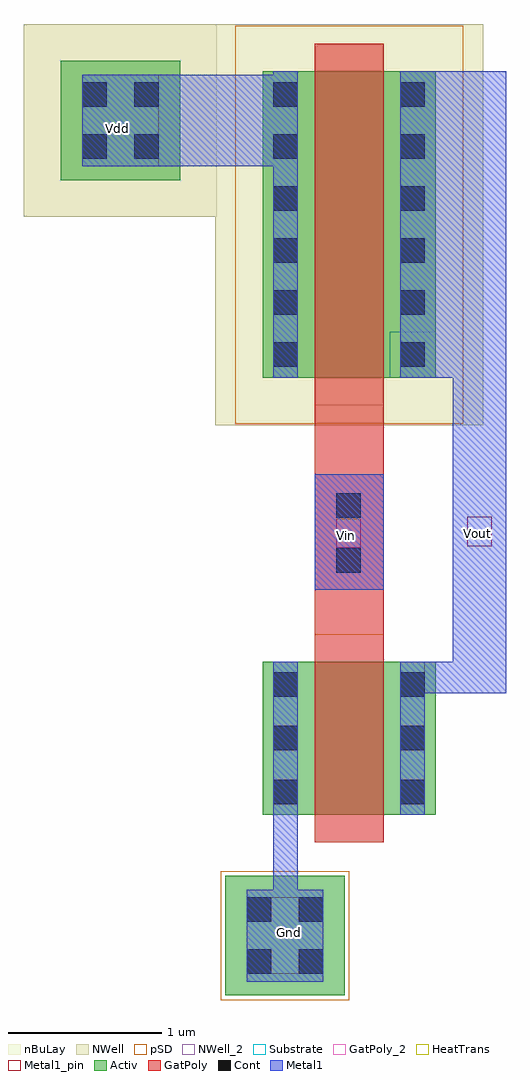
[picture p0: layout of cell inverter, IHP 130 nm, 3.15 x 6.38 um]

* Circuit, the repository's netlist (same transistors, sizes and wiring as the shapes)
** sch_path: /home/pedersen/misc/inverter_example/inverter.sch
.SUBCKT inverter Vdd Vin Vout Gnd
*.PININFO Vout:B Vdd:B Vin:B Gnd:B
M1 Vout Vin Gnd net2 sg13_lv_nmos w=1.0u l=0.45u ng=1 m=1
M2 Vout Vin Vdd net1 sg13_lv_pmos w=2.0u l=0.45u ng=1 m=1
R1 Vdd net1 ntap1 A=6.084e-13 P=3.12e-06
R2 Gnd net2 ptap1 A=6.084e-13 P=3.12e-06
.ENDS

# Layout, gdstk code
import gdstk
lib = gdstk.Library(unit=1e-6, precision=1e-09)
def R(c, l, rs):  # rectangles x0, y0, x1, y1
    for r in rs: c.add(gdstk.rectangle(r[:2], r[2:], *l))
def A(c, l, x, y, w, h, nx, ny, dx, dy):  # array of equal rectangles
    R(c, l, [(x+i*dx, y+j*dy, x+i*dx+w, y+j*dy+h) for i in range(nx) for j in range(ny)])
Activ = (1, 0)
GatPoly = (5, 0)
GatPoly_2 = (5, 2)
Cont = (6, 0)
Metal1 = (8, 0)
Metal1_pin = (8, 2)
pSD = (14, 0)
NWell = (31, 0)
NWell_2 = (31, 2)
nBuLay = (32, 0)
Substrate = (40, 0)
HeatTrans = (51, 0)

pmos_1 = lib.new_cell('pmos$1')
R(pmos_1, Activ, [(0,0,0.3,0.3), (0,0,1.13,2), (0.83,0,1.13,0.3)])
R(pmos_1, GatPoly, [(0.34,-0.18,0.79,2.18), (0.34,-0.18,0.79,2.18)])
A(pmos_1, Cont, 0.07, 0.07, 0.16, 0.16, 1, 6, 0, 0.34)
A(pmos_1, Cont, 0.9, 0.07, 0.16, 0.16, 1, 6, 0, 0.34)
R(pmos_1, Metal1, [(0.07,0,0.23,2), (0.07,0,0.23,2), (0.9,0,1.06,2), (0.9,0,1.06,2)])
R(pmos_1, pSD, [(-0.18,-0.3,1.31,2.3)])
R(pmos_1, NWell, [(-0.31,-0.31,1.44,2.31)])
R(pmos_1, Substrate, [(0.83,0,1.13,0.3)])
R(pmos_1, HeatTrans, [(0.34,-0.18,0.79,2.18)])
pmos_1.add(gdstk.Label('pmos', (0.565,1), layer=63, texttype=0))
pmos_1.add(gdstk.Label('pmos', (0.565,1), layer=51, texttype=0))

nmos = lib.new_cell('nmos')
R(nmos, Activ, [(0,0,0.3,0.3), (0,0,1.13,1), (0.83,0,1.13,0.3)])
R(nmos, GatPoly, [(0.34,-0.18,0.79,1.18)])
R(nmos, GatPoly_2, [(0.34,-0.18,0.79,1.18)])
A(nmos, Cont, 0.07, 0.07, 0.16, 0.16, 1, 3, 0, 0.35)
A(nmos, Cont, 0.9, 0.07, 0.16, 0.16, 1, 3, 0, 0.35)
R(nmos, Metal1, [(0.07,0,0.23,1), (0.9,0,1.06,1)])
R(nmos, Metal1_pin, [(0.07,0,0.23,1), (0.9,0,1.06,1)])
R(nmos, HeatTrans, [(0.34,-0.18,0.79,1.18)])
nmos.add(gdstk.Label('nmos', (0.565,0.5), layer=63, texttype=0))
nmos.add(gdstk.Label('nmos', (0.565,0.5), layer=51, texttype=0))

ntap1 = lib.new_cell('ntap1')
R(ntap1, Activ, [(0,0,0.78,0.78)])
R(ntap1, Cont, [(0.14,0.14,0.3,0.3), (0.48,0.14,0.64,0.3), (0.14,0.48,0.3,0.64), (0.48,0.48,0.64,0.64)])
R(ntap1, Metal1, [(0.14,0.09,0.64,0.69)])
R(ntap1, Metal1_pin, [(0.14,0.09,0.64,0.69), (0.14,0.14,0.64,0.64)])
R(ntap1, NWell, [(-0.24,-0.24,1.02,1.02), (0,0,0.78,0.78)])
R(ntap1, NWell_2, [(0,0,0.78,0.78)])
R(ntap1, nBuLay, [(-0.24,-0.24,1.02,1.02)])
ntap1.add(gdstk.Label('well', (0.39,0.01), layer=31, texttype=0))
ntap1.add(gdstk.Label('well', (0.39,0.01), layer=63, texttype=0))

ptap1 = lib.new_cell('ptap1')
R(ptap1, Activ, [(0,0,0.78,0.78)])
R(ptap1, Cont, [(0.14,0.14,0.3,0.3), (0.48,0.14,0.64,0.3), (0.14,0.48,0.3,0.64), (0.48,0.48,0.64,0.64)])
R(ptap1, Metal1, [(0.14,0.09,0.64,0.69), (0.14,0.14,0.64,0.64)])
R(ptap1, Metal1_pin, [(0.14,0.14,0.64,0.64)])
R(ptap1, pSD, [(-0.03,-0.03,0.81,0.81)])
R(ptap1, Substrate, [(0,0,0.78,0.78)])
ptap1.add(gdstk.Label('sub!', (0.39,0.01), layer=63, texttype=0))
ptap1.add(gdstk.Label('sub!', (0.39,0.01), layer=40, texttype=0))

inverter = lib.new_cell('inverter')
R(inverter, GatPoly, [(0.335,-1.63,0.785,-0.135)])
R(inverter, Cont, [(0.475,-1.23,0.635,-1.07), (0.475,-0.87,0.635,-0.71)])
R(inverter, Metal1, [(0.065,-3.3,0.225,-2.81), (1.055,-2.015,1.235,-1.81), (1.235,-2.015,1.585,2.045), (0.335,-1.34,0.785,-0.585), (1.055,0.045,1.235,2.045), (-0.685,1.425,0.065,2.025)])
R(inverter, Metal1_pin, [(0.1,-3.66,0.26,-3.47), (0.475,-1.065,0.635,-0.875), (1.33,-1.055,1.49,-0.865), (-1.025,1.59,-0.865,1.78)])
inverter.add(gdstk.Reference(pmos_1, (-0.005,0.045)))
inverter.add(gdstk.Reference(nmos, (-0.005,-2.81)))
inverter.add(gdstk.Reference(ntap1, (-1.325,1.335)))
inverter.add(gdstk.Reference(ptap1, (-0.25,-3.99)))
inverter.add(gdstk.Label('Vout', (1.4,-0.975), layer=8, texttype=25))
inverter.add(gdstk.Label('Vin', (0.545,-0.985), layer=8, texttype=25))
inverter.add(gdstk.Label('Gnd', (0.17,-3.58), layer=8, texttype=25))
inverter.add(gdstk.Label('Vdd', (-0.955,1.67), layer=8, texttype=25))

lib.write_gds('inverter.gds')
